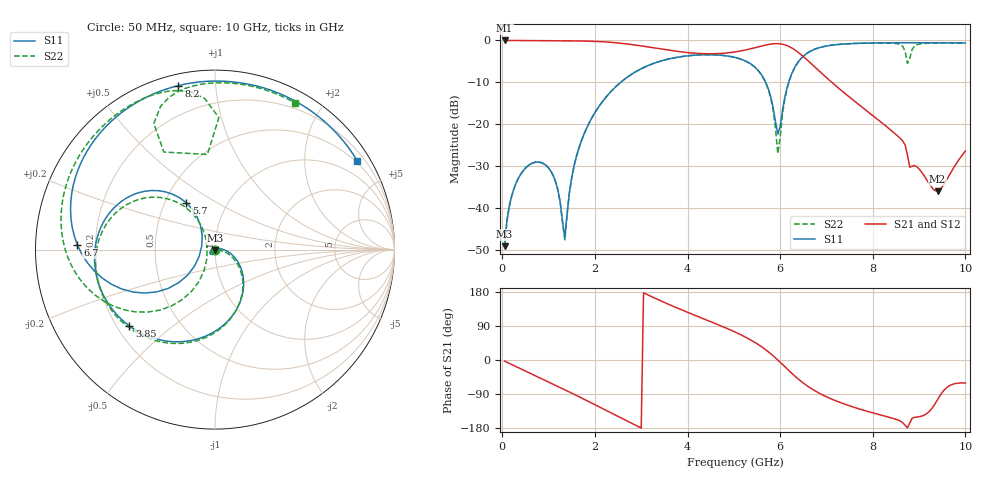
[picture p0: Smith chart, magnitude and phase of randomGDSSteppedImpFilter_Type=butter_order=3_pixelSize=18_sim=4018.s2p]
! freq	dB(S11)	phase(S11)	dB(S12)	phase(S12)
!  dB(S21)	phase(S21)	dB(S22)	phase(S22)
!S-par simulation data
#  GHz  S  DB  R 50
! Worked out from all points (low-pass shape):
!   200 points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, 50 MHz to 10 GHz, reference 50 ohm
!   highest |S21| = -0.01 dB at 50 MHz (marker M1); lowest = -35.9 dB at 9.4 GHz (marker M2)
!   |S21| within 3 dB of the highest: start of sweep to 4.116 GHz; 4.828 GHz to 6.409 GHz (1.581 GHz wide, 28.1 % of centre)
!   lowest |S11| = -49.0 dB at 50 MHz (marker M3), VSWR 1.01, Z = 50 - j0.355 ohm
!   |S11| at or under -10 dB: start of sweep to 2.553 GHz; 5.688 GHz to 6.183 GHz (495 MHz wide, 8.34 % of centre)
!   |S22| runs from -49.0 to -0.6 dB; largest |S21 - S12| = 0
!   S11 on the Smith chart (normalised r, x): 50 MHz: 1.00, -0.01; 3.85 GHz: 0.25, -0.36; 5.7 GHz: 0.64, +0.37; 6.7 GHz: 0.13, +0.02; 8.2 GHz: 0.05, +0.80; 10 GHz: 0.44, +3.44
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0.05  -48.98 -87.3  -0.01 -2.9  -0.01 -2.9  -48.97 -87.0
0.25  -35.33 -104.0  -0.02 -14.5  -0.02 -14.5  -35.33 -102.6
0.75  -28.95 -136.6  -0.06 -43.4  -0.06 -43.4  -28.94 -131.2
1.15  -33.61 -166.9  -0.08 -66.7  -0.08 -66.7  -33.62 -148.3
1.35  -47.04 93.5  -0.09 -78.5  -0.09 -78.5  -47.47 -71.1
1.5  -32.59 13.5  -0.10 -87.4  -0.10 -87.4  -32.59 -9.2
1.75  -22.70 -9.3  -0.15 -102.5  -0.15 -102.5  -22.69 -17.1
2.6  -9.57 -66.0  -0.72 -155.4  -0.72 -155.4  -9.56 -66.2
3.4  -4.99 -114.3  -2.00 157.4  -2.00 157.4  -4.98 -111.9
3.85  -3.89 -138.4  -2.71 133.5  -2.71 133.5  -3.88 -134.8
5.05  -4.12 160.9  -2.70 72.5  -2.70 72.5  -4.12 167.1
5.7  -10.27 121.6  -1.07 25.9  -1.07 25.9  -10.40 126.0
5.95  -22.28 162.9  -0.77 -0.0  -0.77 -0.0  -26.95 167.1
6.2  -9.38 -140.4  -1.50 -29.2  -1.50 -29.2  -9.52 -123.3
6.7  -2.31 178.1  -5.82 -77.5  -5.82 -77.5  -2.31 -166.9
8.2  -0.57 102.6  -19.63 -146.1  -19.63 -146.1  -0.61 120.4
8.35  -0.56 96.6  -20.99 -151.0  -20.99 -151.0  -0.63 113.8
8.65  -0.54 84.8  -23.98 -165.8  -23.98 -165.8  -1.46 93.9
8.75  -0.54 80.9  -27.36 -179.1  -27.36 -179.1  -5.49 94.6
8.85  -0.53 77.0  -29.95 -153.8  -29.95 -153.8  -2.15 115.9
9.4  -0.54 55.5  -35.87 -104.2  -35.87 -104.2  -0.61 84.5
10  -0.59 31.9  -26.33 -60.8  -26.33 -60.8  -0.62 61.6
